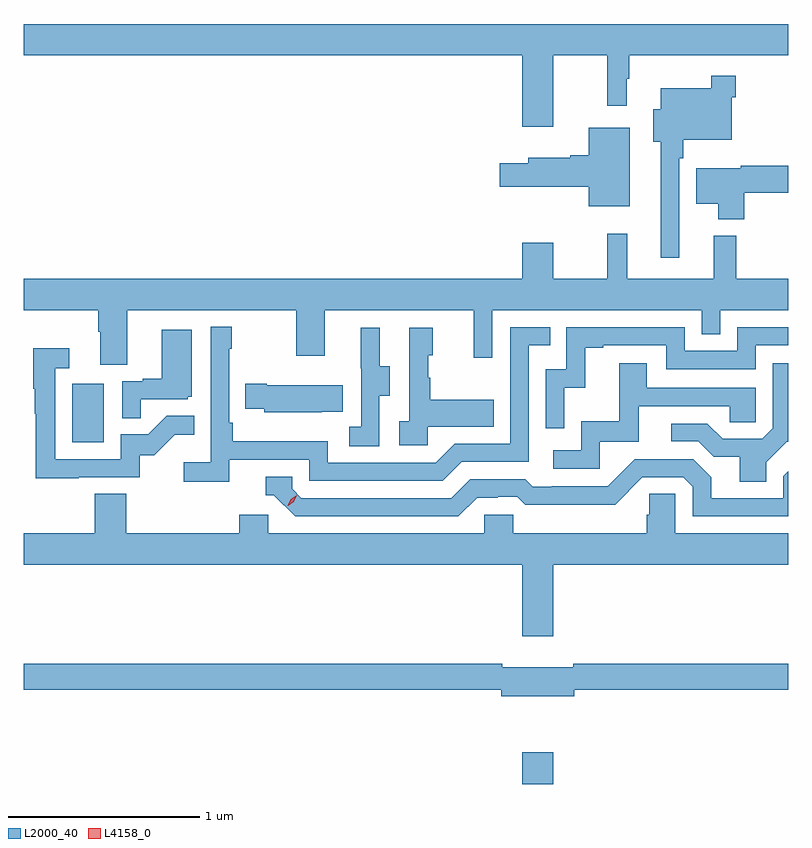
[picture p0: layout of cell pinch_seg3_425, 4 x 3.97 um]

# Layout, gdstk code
import gdstk
lib = gdstk.Library(unit=1e-6, precision=1e-09)
def R(c, l, rs):  # rectangles x0, y0, x1, y1
    for r in rs: c.add(gdstk.rectangle(r[:2], r[2:], *l))
def P(c, l, *ps):  # polygons
    for p in ps: c.add(gdstk.Polygon(p, *l))
L2000_40 = (2000, 40)
L4158_0 = (4158, 0)

pinch_seg3_425 = lib.new_cell('pinch_seg3_425')
R(pinch_seg3_425, L2000_40, [(896.276,691.778,896.44,691.945), (893.924,693.564,894.088,693.871)])
P(pinch_seg3_425, L2000_40, [(896.44,695.588),(896.722,695.588),(896.722,695.325),(896.824,695.325),(896.824,695.465),(896.836,695.465),(896.836,695.588),(897.669,695.588),(897.669,695.752),(893.669,695.752),(893.669,695.588),(896.276,695.588),(896.276,695.214),(896.44,695.214)],
  [(897.099,695.051),(897.119,695.051),(897.119,695.147),(897.372,695.147),(897.372,695.369),(897.392,695.369),(897.392,695.482),(897.264,695.482),(897.264,695.416),(897.002,695.416),(897.002,695.305),(896.963,695.305),(896.963,695.135),(897.002,695.135),(897.002,694.53),(897.099,694.53)],
  [(896.839,695.209),(896.624,695.209),(896.624,695.066),(896.528,695.066),(896.528,695.053),(896.309,695.053),(896.309,695.023),(896.16,695.023),(896.16,694.901),(896.624,694.901),(896.624,694.799),(896.839,694.799)],
  [(897.437,694.87),(897.669,694.87),(897.669,695.012),(897.42,695.012),(897.42,694.999),(897.188,694.999),(897.188,694.811),(897.302,694.811),(897.302,694.73),(897.437,694.73)],
  [(894.211,694.256),(895.096,694.256),(895.096,694.017),(895.243,694.017),(895.243,694.256),(896.024,694.256),(896.024,694.008),(896.121,694.008),(896.121,694.256),(897.216,694.256),(897.216,694.129),(897.312,694.129),(897.312,694.256),(897.669,694.256),(897.669,694.42),(897.395,694.42),(897.395,694.645),(897.278,694.645),(897.278,694.42),(896.825,694.42),(896.825,694.654),(896.722,694.654),(896.722,694.42),(896.44,694.42),(896.44,694.609),(896.276,694.609),(896.276,694.42),(893.669,694.42),(893.669,694.256),(894.059,694.256),(894.059,694.144),(894.071,694.144),(894.071,693.97),(894.211,693.97)],
  [(894.746,693.474),(895.164,693.474),(895.164,693.363),(895.861,693.363),(895.96,693.462),(896.31,693.462),(896.31,694.071),(896.423,694.071),(896.423,694.167),(896.214,694.167),(896.214,693.558),(895.923,693.558),(895.824,693.459),(895.26,693.459),(895.26,693.571),(894.764,693.571),(894.764,693.667),(894.744,693.667),(894.744,694.055),(894.757,694.055),(894.757,694.168),(894.648,694.168),(894.648,693.46),(894.507,693.46),(894.507,693.358),(894.746,693.358)],
  [(896.496,693.851),(896.606,693.851),(896.606,694.059),(896.701,694.059),(896.701,694.071),(897.03,694.071),(897.03,693.948),(897.498,693.948),(897.498,694.071),(897.669,694.071),(897.669,694.167),(897.402,694.167),(897.402,694.044),(897.126,694.044),(897.126,694.167),(896.508,694.167),(896.508,693.948),(896.4,693.948),(896.4,693.639),(896.496,693.639)],
  [(895.782,693.647),(896.129,693.647),(896.129,693.787),(895.795,693.787),(895.795,693.902),(895.785,693.902),(895.785,694.02),(895.81,694.02),(895.81,694.165),(895.686,694.165),(895.686,693.674),(895.635,693.674),(895.635,693.549),(895.782,693.549)],
  [(895.53,693.808),(895.585,693.808),(895.585,693.963),(895.531,693.963),(895.531,694.165),(895.433,694.165),(895.433,693.951),(895.434,693.951),(895.434,693.647),(895.371,693.647),(895.371,693.544),(895.53,693.544)],
  [(894.281,693.789),(894.528,693.789),(894.528,693.804),(894.55,693.804),(894.55,694.153),(894.392,694.153),(894.392,693.898),(894.293,693.898),(894.293,693.885),(894.186,693.885),(894.186,693.691),(894.281,693.691)],
  [(893.957,693.381),(894.276,693.381),(894.276,693.498),(894.352,693.498),(894.459,693.605),(894.563,693.605),(894.563,693.704),(894.419,693.704),(894.321,693.606),(894.177,693.606),(894.177,693.477),(893.835,693.477),(893.835,693.951),(893.908,693.951),(893.908,694.057),(893.719,694.057),(893.719,693.844),(893.727,693.844),(893.727,693.714),(893.734,693.714),(893.734,693.376),(893.957,693.376)],
  [(896.682,693.567),(896.887,693.567),(896.887,693.753),(897.361,693.753),(897.361,693.669),(897.498,693.669),(897.498,693.849),(896.929,693.849),(896.929,693.979),(896.785,693.979),(896.785,693.676),(896.586,693.676),(896.586,693.522),(896.439,693.522),(896.439,693.426),(896.682,693.426)],
  [(897.553,693.46),(897.66,693.567),(897.669,693.567),(897.669,693.979),(897.588,693.979),(897.588,693.639),(897.531,693.582),(897.325,693.582),(897.244,693.663),(897.057,693.663),(897.057,693.57),(897.198,693.57),(897.278,693.49),(897.413,693.49),(897.413,693.358),(897.553,693.358)],
  [(895.229,693.725),(895.337,693.725),(895.337,693.862),(894.94,693.862),(894.94,693.87),(894.829,693.87),(894.829,693.74),(894.927,693.74),(894.927,693.722),(895.229,693.722)],
  [(896.041,693.276),(896.148,693.276),(896.148,693.279),(896.251,693.279),(896.293,693.237),(896.526,693.237),(896.526,693.239),(896.762,693.239),(896.904,693.381),(897.12,693.381),(897.168,693.333),(897.168,693.177),(897.669,693.177),(897.669,693.414),(897.642,693.387),(897.642,693.273),(897.265,693.273),(897.265,693.383),(897.171,693.477),(896.865,693.477),(896.724,693.336),(896.431,693.336),(896.431,693.333),(896.332,693.333),(896.293,693.372),(896.004,693.372),(895.905,693.273),(895.122,693.273),(895.074,693.321),(895.074,693.384),(894.935,693.384),(894.935,693.288),(894.978,693.288),(895.089,693.177),(895.942,693.177)],
  [(896.44,692.924),(897.669,692.924),(897.669,693.088),(897.078,693.088),(897.078,693.296),(896.941,693.296),(896.941,693.186),(896.927,693.186),(896.927,693.088),(896.229,693.088),(896.229,693.186),(896.079,693.186),(896.079,693.088),(894.948,693.088),(894.948,693.186),(894.797,693.186),(894.797,693.088),(894.206,693.088),(894.206,693.296),(894.041,693.296),(894.041,693.088),(893.669,693.088),(893.669,692.924),(896.276,692.924),(896.276,692.55),(896.44,692.55)],
  [(896.548,692.272),(897.669,692.272),(897.669,692.408),(896.544,692.408),(896.544,692.389),(896.172,692.389),(896.172,692.408),(893.669,692.408),(893.669,692.272),(896.168,692.272),(896.168,692.237),(896.548,692.237)])
P(pinch_seg3_425, L4158_0, [(895.051,693.234),(895.051,693.235),(895.067,693.268),(895.097,693.287),(895.098,693.287),(895.098,693.287),(895.082,693.254),(895.052,693.234)])

lib.write_gds('pinch_seg3_425.gds')
